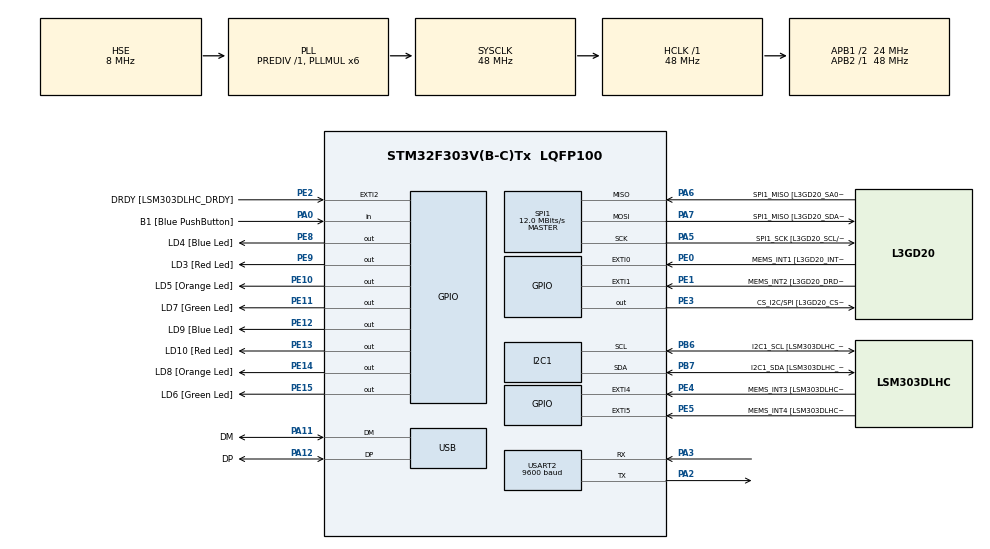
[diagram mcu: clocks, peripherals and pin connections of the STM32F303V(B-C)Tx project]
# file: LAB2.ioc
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I2C1.Timing=0x2000090E
I2C1.Timing-I2C=0x2000090E
Mcu.Family=STM32F3
Mcu.Name=STM32F303V(B-C)Tx
Mcu.Package=LQFP100
NVIC.PriorityGroup=NVIC_PRIORITYGROUP_0
PA0.GPIO_Label=B1 [Blue PushButton]
PA0.Signal=GPIO_Input
PA11.GPIO_Label=DM
PA11.Mode=Device
PA11.Signal=USB_DM
PA12.GPIO_Label=DP
PA12.Mode=Device
PA12.Signal=USB_DP
PA13.GPIO_Label=SWDIO
PA13.Mode=Serial_Wire
PA13.Signal=SYS_JTMS-SWDIO
PA14.GPIO_Label=SWCLK
PA14.Mode=Serial_Wire
PA14.Signal=SYS_JTCK-SWCLK
PA2.Mode=Asynchronous
PA2.Signal=USART2_TX
PA3.Mode=Asynchronous
PA3.Signal=USART2_RX
PA5.GPIO_Label=SPI1_SCK [L3GD20_SCL/SPC]
PA5.Mode=Full_Duplex_Master
PA5.Signal=SPI1_SCK
PA6.GPIO_Label=SPI1_MISO [L3GD20_SA0/SDO]
PA6.Mode=Full_Duplex_Master
PA6.Signal=SPI1_MISO
PA7.GPIO_Label=SPI1_MISO [L3GD20_SDA/SDI/SDO]
PA7.Mode=Full_Duplex_Master
PA7.Signal=SPI1_MOSI
PB3.GPIO_Label=SWO
PB3.Signal=SYS_JTDO-TRACESWO
PB6.GPIO_Label=I2C1_SCL [LSM303DLHC_SCL]
PB6.GPIO_Pu=GPIO_PULLUP
PB6.Mode=I2C
PB6.Signal=I2C1_SCL
PB7.GPIO_Label=I2C1_SDA [LSM303DLHC_SDA]
PB7.GPIO_Pu=GPIO_PULLUP
PB7.Mode=I2C
PB7.Signal=I2C1_SDA
PC14-OSC32_IN.GPIO_Label=OSC32_IN
PC14-OSC32_IN.Signal=RCC_OSC32_IN
PC15-OSC32_OUT.GPIO_Label=OSC32_OUT
PC15-OSC32_OUT.Signal=RCC_OSC32_OUT
PE0.GPIO_Label=MEMS_INT1 [L3GD20_INT1]
PE0.GPIO_ModeDefaultEXTI=GPIO_MODE_EVT_RISING
PE0.Signal=GPXTI0
PE1.GPIO_Label=MEMS_INT2 [L3GD20_DRDY/INT2]
PE1.GPIO_ModeDefaultEXTI=GPIO_MODE_EVT_RISING
PE1.Signal=GPXTI1
PE10.GPIO_Label=LD5 [Orange Led]
PE10.Signal=GPIO_Output
PE11.GPIO_Label=LD7 [Green Led]
PE11.Signal=GPIO_Output
PE12.GPIO_Label=LD9 [Blue Led]
PE12.Signal=GPIO_Output
PE13.GPIO_Label=LD10 [Red Led]
PE13.Signal=GPIO_Output
PE14.GPIO_Label=LD8 [Orange Led]
PE14.Signal=GPIO_Output
PE15.GPIO_Label=LD6 [Green Led]
PE15.Signal=GPIO_Output
PE2.GPIO_Label=DRDY [LSM303DLHC_DRDY]
PE2.GPIO_ModeDefaultEXTI=GPIO_MODE_EVT_RISING
PE2.Signal=GPXTI2
PE3.GPIO_Label=CS_I2C/SPI [L3GD20_CS_I2C/SPI]
PE3.Signal=GPIO_Output
PE4.GPIO_Label=MEMS_INT3 [LSM303DLHC_INT1]
PE4.GPIO_ModeDefaultEXTI=GPIO_MODE_EVT_RISING
PE4.Signal=GPXTI4
PE5.GPIO_Label=MEMS_INT4 [LSM303DLHC_INT2]
PE5.GPIO_ModeDefaultEXTI=GPIO_MODE_EVT_RISING
PE5.Signal=GPXTI5
PE8.GPIO_Label=LD4 [Blue Led]
PE8.Signal=GPIO_Output
PE9.GPIO_Label=LD3 [Red Led]
PE9.Signal=GPIO_Output
PF0-OSC_IN.GPIO_Label=OSC_IN
PF0-OSC_IN.Mode=HSE-External-Clock-Source
PF0-OSC_IN.Signal=RCC_OSC_IN
PF1-OSC_OUT.GPIO_Label=OSC_OUT
PF1-OSC_OUT.Signal=RCC_OSC_OUT
ProjectManager.HeapSize=0x200
ProjectManager.StackSize=0x400
ProjectManager.TargetToolchain=CMake
RCC.AHBFreq_Value=48000000
RCC.APB1CLKDivider=RCC_HCLK_DIV2
RCC.APB1Freq_Value=24000000
RCC.APB1TimFreq_Value=48000000
RCC.APB2Freq_Value=48000000
RCC.APB2TimFreq_Value=48000000
RCC.CortexFreq_Value=48000000
RCC.HCLKFreq_Value=48000000
RCC.HSE_VALUE=8000000
RCC.HSI_VALUE=8000000
RCC.LSE_VALUE=32768
RCC.PLLMUL=RCC_PLL_MUL6
RCC.SYSCLKFreq_VALUE=48000000
RCC.SYSCLKSourceVirtual=RCC_SYSCLKSOURCE_PLLCLK
RCC.USBFreq_Value=48000000
SPI1.BaudRatePrescaler=SPI_BAUDRATEPRESCALER_4
SPI1.BaudRatePrescaler-Full_Duplex_Master=SPI_BAUDRATEPRESCALER_2
SPI1.CalculateBaudRate=12.0 MBits/s
SPI1.CalculateBaudRate-Full_Duplex_Master=24.0 MBits/s
SPI1.Direction=SPI_DIRECTION_2LINES
SPI1.Mode=SPI_MODE_MASTER
SPI1.Mode-Full_Duplex_Master=SPI_MODE_MASTER
SPI1.VirtualType=VM_MASTER
USART2.BaudRate=9600
USART2.VirtualMode-Asynchronous=VM_ASYNC
board=STM32F3DISCOVERY

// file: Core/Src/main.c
/* USER CODE BEGIN Header */
/**
  ******************************************************************************
  * @file           : main.c
  * @brief          : Main program body
  ******************************************************************************
  * @attention
  *
  * Copyright (c) 2025 STMicroelectronics.
  * All rights reserved.
  *
  * This software is licensed under terms that can be found in the LICENSE file
  * in the root directory of this software component.
  * If no LICENSE file comes with this software, it is provided AS-IS.
  *
  ******************************************************************************
  */
/* USER CODE END Header */
#include "main.h"
#include "stdarg.h"   // For variable argument handling
#include "stdio.h"    // For vsnprintf
#include "string.h"   // For strlen

I2C_HandleTypeDef hi2c1;

SPI_HandleTypeDef hspi1;

UART_HandleTypeDef huart2;

PCD_HandleTypeDef hpcd_USB_FS;

void SystemClock_Config(void);
static void MX_GPIO_Init(void);
static void MX_I2C1_Init(void);
static void MX_SPI1_Init(void);
static void MX_USART2_UART_Init(void);
static void MX_USB_PCD_Init(void);

void myPrintf(const char *fmt, ...);
int main(void)
{

  /* MCU Configuration--------------------------------------------------------*/

  /* Reset of all peripherals, Initializes the Flash interface and the Systick. */
  HAL_Init();

  /* Configure the system clock */
  SystemClock_Config();

  /* USER CODE BEGIN Sys
  lInit */

  /* USER CODE END SysInit */

  /* Initialize all configured peripherals */
  MX_GPIO_Init();
  MX_I2C1_Init();
  MX_SPI1_Init();
  MX_USART2_UART_Init();
  MX_USB_PCD_Init();

  /* Infinite loop */
  /* USER CODE BEGIN WHILE */
  //Task 0 message
  char message[] = "Hello World\r\n"; // define the msg to print

  //Task 1 values
  int x = 42;
  float y = 3.14f;

  // //Task 2 values
  int a=2;
  int b=3;
  int LHS=(a + b) * (a + b);
  int RHS= a*a + b*b + 2*a*b;

  // //Task 3 definition:
  char str[] = "Microcontrollers";
  char encrypted[100];
  char decrypted[100];
  int key=8878;
  int i;
  for(i = 0; i < strlen(str); i += 1) {  //encryption loop
      encrypted[i]= str[i] + (key % 256);
  }
  encrypted[i] = '\0';
  for(i = 0; i < strlen(str); i += 1) {  //decryption loop
      decrypted[i]= encrypted[i] - (key % 256);
  }
  decrypted[i] = '\0'; //null operator

  //Task 4 Defiition:
  int A[2][2] = { {1, 2}, {3, 4} };
  int B[2][2] = { {5, 6}, {7, 8} };
  int C[2][2];
  for (int i=0;i<2; i++){
    for (int j=0;j<2; j++){
      C[i][j]=0;
      for (int k=0;k<2; k++){
        C[i][j]+=A[i][k] *B[k][j];
      }
    }
  }

  // //Task 5 definition
  int num, digit1,digit2, digit3, sum;

  while (1)
  {
    /* USER CODE END WHILE */

    //Task #0
    // HAL_UART_Transmit(&huart2, (uint8_t*)message, strlen(message), HAL_MAX_DELAY);  // Send string on UART2
    // HAL_Delay(500); // 1 sec delay

    //Task 1 testing
    // myPrintf("Value of x = %d, y = %.2f\r\n", x, y);
    // HAL_Delay(1000);

    //Task 2 testing:
    //Task 2 testing:
      // myPrintf("a = %d, b = %d\r\n", a, b); //print values of a and b
      // myPrintf("LHS: %d\r\n", LHS); //print values of LHS
      // myPrintf("RHS: %d\r\n", RHS); //orint values of RHS

      // if (LHS == RHS) {
      //     myPrintf("Identity Verified: Yes\r\n\r\n"); //when LHS=RHS
      // } else {
      //     myPrintf("Identity Verified: No\r\n\r\n"); //when LHS=/=RHS
      // }
      // HAL_Delay(1500);

      // task 3 output
      // myPrintf("Encrypted string: %s\r\n", encrypted);
      // myPrintf("Decrypted string: %s\r\n", decrypted);
      // if (strcmp(str, decrypted) == 0) {
      //       myPrintf("Matches original\r\n");
      //   }
      //   else {
      //       myPrintf("Not matches original\r\n");
      //   }

      // HAL_Delay(1500);

    //   //Task 4 output:
      myPrintf("Matrix A:\r\n");
      for (int i=0; i<2; i++) {
          for (int j=0; j<2; j++) {
              myPrintf("%4d ", A[i][j]);
          }
          myPrintf("\r\n");
      }

      myPrintf("Matrix B:\r\n");
      for (int i=0; i<2; i++) {
          for (int j=0; j<2; j++) {
              myPrintf("%4d ", B[i][j]);
          }
          myPrintf("\r\n");
      }

      myPrintf("Matrix C (Result = A x B):\r\n");
      for (int i=0; i<2; i++) {
          for (int j=0; j<2; j++) {
              myPrintf("%4d ", C[i][j]);
          }
          myPrintf("\r\n");
      }

      HAL_Delay(1500);

    //   //Task 5
      myPrintf("Armstrong numbers between 100 and 999 are:\r\n");

      for (num = 100; num <= 999; num++) {
        // Extract digits
        digit1 = num / 100;           // Hundreds place
        digit2 = (num / 10) % 10;     // Tens place
        digit3 = num % 10;            // Units place

        // Calculate sum of cubes of digits
        sum = (digit1 * digit1 * digit1) +
              (digit2 * digit2 * digit2) +
              (digit3 * digit3 * digit3);

        // Compare with original number
        if (sum == num) {
            myPrintf("%d\r\n", num);

        }

    }
      HAL_Delay(1500);

  }
}

void myPrintf(const char *fmt, ...)
{
    char buffer[256];              // Step 1: temp storage for formatted string
    va_list args;                  // Step 2: argument list

    va_start(args, fmt);           // Start processing variable args
    vsnprintf(buffer, sizeof(buffer), fmt, args);  // Step 3: format string safely
    va_end(args);                  // Clean up

    HAL_UART_Transmit(&huart2, (uint8_t*)buffer, strlen(buffer), HAL_MAX_DELAY);  // Step 4
}

void SystemClock_Config(void)
{
  RCC_OscInitTypeDef RCC_OscInitStruct = {0};
  RCC_ClkInitTypeDef RCC_ClkInitStruct = {0};
  RCC_PeriphCLKInitTypeDef PeriphClkInit = {0};

  /** Initializes the RCC Oscillators according to the specified parameters
  * in the RCC_OscInitTypeDef structure.
  */
  RCC_OscInitStruct.OscillatorType = RCC_OSCILLATORTYPE_HSI|RCC_OSCILLATORTYPE_HSE;
  RCC_OscInitStruct.HSEState = RCC_HSE_BYPASS;
  RCC_OscInitStruct.HSEPredivValue = RCC_HSE_PREDIV_DIV1;
  RCC_OscInitStruct.HSIState = RCC_HSI_ON;
  RCC_OscInitStruct.HSICalibrationValue = RCC_HSICALIBRATION_DEFAULT;
  RCC_OscInitStruct.PLL.PLLState = RCC_PLL_ON;
  RCC_OscInitStruct.PLL.PLLSource = RCC_PLLSOURCE_HSE;
  RCC_OscInitStruct.PLL.PLLMUL = RCC_PLL_MUL6;
  if (HAL_RCC_OscConfig(&RCC_OscInitStruct) != HAL_OK)
  {
    Error_Handler();
  }

  /** Initializes the CPU, AHB and APB buses clocks
  */
  RCC_ClkInitStruct.ClockType = RCC_CLOCKTYPE_HCLK|RCC_CLOCKTYPE_SYSCLK
                              |RCC_CLOCKTYPE_PCLK1|RCC_CLOCKTYPE_PCLK2;
  RCC_ClkInitStruct.SYSCLKSource = RCC_SYSCLKSOURCE_PLLCLK;
  RCC_ClkInitStruct.AHBCLKDivider = RCC_SYSCLK_DIV1;
  RCC_ClkInitStruct.APB1CLKDivider = RCC_HCLK_DIV2;
  RCC_ClkInitStruct.APB2CLKDivider = RCC_HCLK_DIV1;

  if (HAL_RCC_ClockConfig(&RCC_ClkInitStruct, FLASH_LATENCY_1) != HAL_OK)
  {
    Error_Handler();
  }
  PeriphClkInit.PeriphClockSelection = RCC_PERIPHCLK_USB|RCC_PERIPHCLK_USART2
                              |RCC_PERIPHCLK_I2C1;
  PeriphClkInit.Usart2ClockSelection = RCC_USART2CLKSOURCE_PCLK1;
  PeriphClkInit.I2c1ClockSelection = RCC_I2C1CLKSOURCE_HSI;
  PeriphClkInit.USBClockSelection = RCC_USBCLKSOURCE_PLL;
  if (HAL_RCCEx_PeriphCLKConfig(&PeriphClkInit) != HAL_OK)
  {
    Error_Handler();
  }
}

static void MX_I2C1_Init(void)
{

  hi2c1.Instance = I2C1;
  hi2c1.Init.Timing = 0x2000090E;
  hi2c1.Init.OwnAddress1 = 0;
  hi2c1.Init.AddressingMode = I2C_ADDRESSINGMODE_7BIT;
  hi2c1.Init.DualAddressMode = I2C_DUALADDRESS_DISABLE;
  hi2c1.Init.OwnAddress2 = 0;
  hi2c1.Init.OwnAddress2Masks = I2C_OA2_NOMASK;
  hi2c1.Init.GeneralCallMode = I2C_GENERALCALL_DISABLE;
  hi2c1.Init.NoStretchMode = I2C_NOSTRETCH_DISABLE;
  if (HAL_I2C_Init(&hi2c1) != HAL_OK)
  {
    Error_Handler();
  }

  /** Configure Analogue filter
  */
  if (HAL_I2CEx_ConfigAnalogFilter(&hi2c1, I2C_ANALOGFILTER_ENABLE) != HAL_OK)
  {
    Error_Handler();
  }

  /** Configure Digital filter
  */
  if (HAL_I2CEx_ConfigDigitalFilter(&hi2c1, 0) != HAL_OK)
  {
    Error_Handler();
  }

}

static void MX_SPI1_Init(void)
{

  /* SPI1 parameter configuration*/
  hspi1.Instance = SPI1;
  hspi1.Init.Mode = SPI_MODE_MASTER;
  hspi1.Init.Direction = SPI_DIRECTION_2LINES;
  hspi1.Init.DataSize = SPI_DATASIZE_4BIT;
  hspi1.Init.CLKPolarity = SPI_POLARITY_LOW;
  hspi1.Init.CLKPhase = SPI_PHASE_1EDGE;
  hspi1.Init.NSS = SPI_NSS_SOFT;
  hspi1.Init.BaudRatePrescaler = SPI_BAUDRATEPRESCALER_4;
  hspi1.Init.FirstBit = SPI_FIRSTBIT_MSB;
  hspi1.Init.TIMode = SPI_TIMODE_DISABLE;
  hspi1.Init.CRCCalculation = SPI_CRCCALCULATION_DISABLE;
  hspi1.Init.CRCPolynomial = 7;
  hspi1.Init.CRCLength = SPI_CRC_LENGTH_DATASIZE;
  hspi1.Init.NSSPMode = SPI_NSS_PULSE_ENABLE;
  if (HAL_SPI_Init(&hspi1) != HAL_OK)
  {
    Error_Handler();
  }

}

static void MX_USART2_UART_Init(void)
{

  huart2.Instance = USART2;
  huart2.Init.BaudRate = 9600;
  huart2.Init.WordLength = UART_WORDLENGTH_8B;
  huart2.Init.StopBits = UART_STOPBITS_1;
  huart2.Init.Parity = UART_PARITY_NONE;
  huart2.Init.Mode = UART_MODE_TX_RX;
  huart2.Init.HwFlowCtl = UART_HWCONTROL_NONE;
  huart2.Init.OverSampling = UART_OVERSAMPLING_16;
  huart2.Init.OneBitSampling = UART_ONE_BIT_SAMPLE_DISABLE;
  huart2.AdvancedInit.AdvFeatureInit = UART_ADVFEATURE_NO_INIT;
  if (HAL_UART_Init(&huart2) != HAL_OK)
  {
    Error_Handler();
  }

}

static void MX_USB_PCD_Init(void)
{

  hpcd_USB_FS.Instance = USB;
  hpcd_USB_FS.Init.dev_endpoints = 8;
  hpcd_USB_FS.Init.speed = PCD_SPEED_FULL;
  hpcd_USB_FS.Init.phy_itface = PCD_PHY_EMBEDDED;
  hpcd_USB_FS.Init.low_power_enable = DISABLE;
  hpcd_USB_FS.Init.battery_charging_enable = DISABLE;
  if (HAL_PCD_Init(&hpcd_USB_FS) != HAL_OK)
  {
    Error_Handler();
  }

}

static void MX_GPIO_Init(void)
{
  GPIO_InitTypeDef GPIO_InitStruct = {0};

  /* GPIO Ports Clock Enable */
  __HAL_RCC_GPIOE_CLK_ENABLE();
  __HAL_RCC_GPIOC_CLK_ENABLE();
  __HAL_RCC_GPIOF_CLK_ENABLE();
  __HAL_RCC_GPIOA_CLK_ENABLE();
  __HAL_RCC_GPIOB_CLK_ENABLE();

  /*Configure GPIO pin Output Level */
  HAL_GPIO_WritePin(GPIOE, CS_I2C_SPI_Pin|LD4_Pin|LD3_Pin|LD5_Pin
                          |LD7_Pin|LD9_Pin|LD10_Pin|LD8_Pin
                          |LD6_Pin, GPIO_PIN_RESET);

  /*Configure GPIO pins : DRDY_Pin MEMS_INT3_Pin MEMS_INT4_Pin MEMS_INT1_Pin
                           MEMS_INT2_Pin */
  GPIO_InitStruct.Pin = DRDY_Pin|MEMS_INT3_Pin|MEMS_INT4_Pin|MEMS_INT1_Pin
                          |MEMS_INT2_Pin;
  GPIO_InitStruct.Mode = GPIO_MODE_EVT_RISING;
  GPIO_InitStruct.Pull = GPIO_NOPULL;
  HAL_GPIO_Init(GPIOE, &GPIO_InitStruct);

  /*Configure GPIO pins : CS_I2C_SPI_Pin LD4_Pin LD3_Pin LD5_Pin
                           LD7_Pin LD9_Pin LD10_Pin LD8_Pin
                           LD6_Pin */
  GPIO_InitStruct.Pin = CS_I2C_SPI_Pin|LD4_Pin|LD3_Pin|LD5_Pin
                          |LD7_Pin|LD9_Pin|LD10_Pin|LD8_Pin
                          |LD6_Pin;
  GPIO_InitStruct.Mode = GPIO_MODE_OUTPUT_PP;
  GPIO_InitStruct.Pull = GPIO_NOPULL;
  GPIO_InitStruct.Speed = GPIO_SPEED_FREQ_LOW;
  HAL_GPIO_Init(GPIOE, &GPIO_InitStruct);

  /*Configure GPIO pin : B1_Pin */
  GPIO_InitStruct.Pin = B1_Pin;
  GPIO_InitStruct.Mode = GPIO_MODE_INPUT;
  GPIO_InitStruct.Pull = GPIO_NOPULL;
  HAL_GPIO_Init(B1_GPIO_Port, &GPIO_InitStruct);

}

void Error_Handler(void)
{
  __disable_irq();
  while (1)
  {
  }
}
